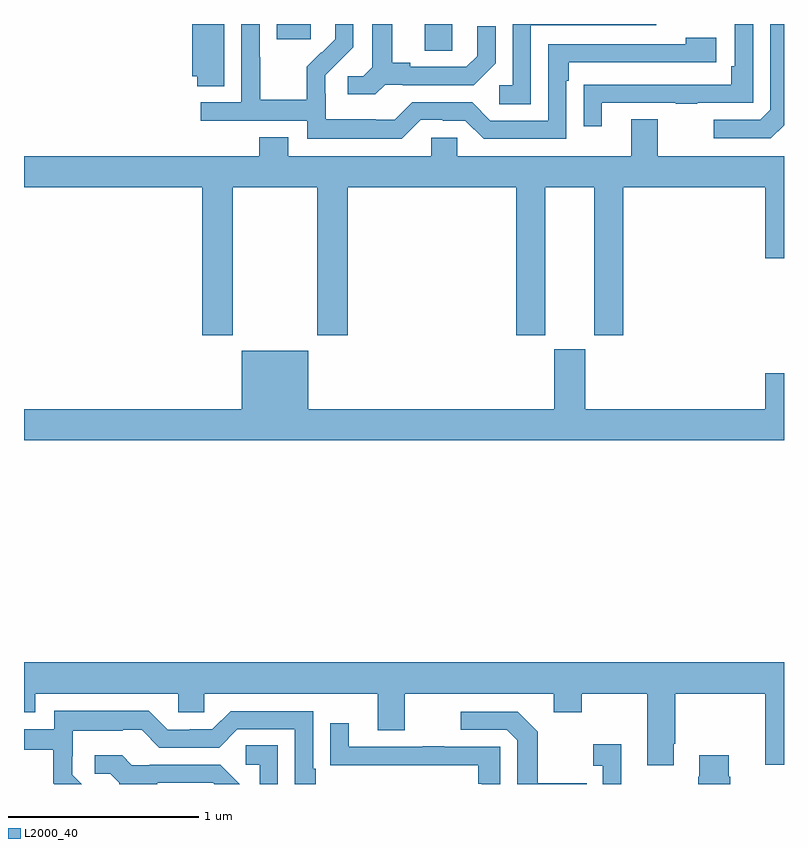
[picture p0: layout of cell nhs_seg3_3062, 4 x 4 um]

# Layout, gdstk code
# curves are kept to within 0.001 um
import gdstk
lib = gdstk.Library(unit=1e-6, precision=1e-09)
def R(c, l, rs):  # rectangles x0, y0, x1, y1
    for r in rs: c.add(gdstk.rectangle(r[:2], r[2:], *l))
def P(c, l, *ps):  # polygons
    for p in ps: c.add(gdstk.Polygon(p, *l))
L2000_40 = (2000, 40)

nhs_seg3_3062 = lib.new_cell('nhs_seg3_3062')
R(nhs_seg3_3062, L2000_40, [(271.109,744.259,271.254,744.4), (270.329,744.321,270.508,744.4)])
P(nhs_seg3_3062, L2000_40, [(271.668,744.393),(272.327,744.393),(272.327,744.4),(271.572,744.4),(271.572,744.078),(271.5,744.078),(271.5,743.977),(271.668,743.977)],
  [(270.055,744.4),(269.885,744.4),(269.885,744.126),(269.912,744.126),(269.912,744.073),(270.055,744.073)],
  [(273,743.868),(273,744.4),(272.928,744.4),(272.928,743.949),(272.874,743.895),(272.631,743.895),(272.631,743.799),(272.931,743.799)],
  [(270.9,744.081),(270.994,744.081),(270.994,744.078),(271.366,744.078),(271.482,744.194),(271.482,744.388),(271.385,744.388),(271.385,744.231),(271.328,744.174),(271.033,744.174),(271.033,744.197),(270.937,744.197),(270.937,744.4),(270.833,744.4),(270.833,744.173),(270.786,744.126),(270.705,744.126),(270.705,744.029),(270.848,744.029)],
  [(272.041,743.985),(272.431,743.985),(272.431,743.98),(272.543,743.98),(272.543,743.985),(272.838,743.985),(272.838,744.4),(272.742,744.4),(272.742,744.178),(272.722,744.178),(272.722,744.081),(272.047,744.081),(272.047,744.08),(271.945,744.08),(271.945,743.862),(272.041,743.862)],
  [(271.089,743.895),(271.205,743.895),(271.205,743.892),(271.323,743.892),(271.419,743.796),(271.854,743.796),(271.854,744.101),(271.867,744.101),(271.867,744.198),(272.644,744.198),(272.644,744.328),(272.483,744.328),(272.483,744.294),(271.758,744.294),(271.758,743.892),(271.455,743.892),(271.359,743.988),(271.044,743.988),(270.951,743.895),(270.851,743.895),(270.851,743.899),(270.588,743.899),(270.588,744.033),(270.586,744.033),(270.586,744.13),(270.732,744.278),(270.732,744.4),(270.638,744.4),(270.638,744.32),(270.567,744.249),(270.564,744.252),(270.487,744.175),(270.487,744.001),(270.243,744.001),(270.243,744.224),(270.24,744.224),(270.24,744.4),(270.144,744.4),(270.144,743.988),(269.931,743.988),(269.931,743.892),(270.492,743.892),(270.492,743.795),(270.989,743.795)],
  [(270.099,743.54),(270.544,743.54),(270.544,742.761),(270.704,742.761),(270.704,743.54),(271.592,743.54),(271.592,742.761),(271.744,742.761),(271.744,743.54),(272,743.54),(272,742.761),(272.153,742.761),(272.153,743.54),(272.9,743.54),(272.9,743.166),(273,743.166),(273,743.704),(272.335,743.704),(272.335,743.899),(272.195,743.899),(272.195,743.704),(271.281,743.704),(271.281,743.802),(271.143,743.802),(271.143,743.704),(270.391,743.704),(270.391,743.803),(270.239,743.803),(270.239,743.704),(269,743.704),(269,743.54),(269.939,743.54),(269.939,742.761),(270.099,742.761)],
  [(273,742.561),(272.9,742.561),(272.9,742.372),(271.954,742.372),(271.954,742.689),(271.79,742.689),(271.79,742.372),(270.496,742.372),(270.496,742.681),(270.146,742.681),(270.146,742.372),(269,742.372),(269,742.208),(273,742.208)],
  [(272.419,740.611),(272.427,740.611),(272.427,740.876),(272.9,740.876),(272.9,740.502),(273,740.502),(273,741.04),(269,741.04),(269,740.777),(269.059,740.777),(269.059,740.876),(269.811,740.876),(269.811,740.778),(269.949,740.778),(269.949,740.876),(270.863,740.876),(270.863,740.682),(271.003,740.682),(271.003,740.876),(271.787,740.876),(271.787,740.777),(271.935,740.777),(271.935,740.876),(272.279,740.876),(272.279,740.499),(272.419,740.499)],
  [(269.254,740.45),(269.254,740.547),(269.256,740.547),(269.256,740.681),(269.519,740.681),(269.519,740.685),(269.619,740.685),(269.712,740.592),(270.027,740.592),(270.123,740.688),(270.426,740.688),(270.426,740.4),(270.535,740.4),(270.535,740.479),(270.522,740.479),(270.522,740.784),(270.087,740.784),(269.991,740.688),(269.873,740.688),(269.873,740.685),(269.757,740.685),(269.657,740.785),(269.16,740.785),(269.16,740.688),(269,740.688),(269,740.58),(269.155,740.58),(269.155,740.405),(269.16,740.4),(269.304,740.4)],
  [(271.961,740.403),(271.705,740.403),(271.705,740.675),(271.599,740.781),(271.299,740.781),(271.299,740.685),(271.542,740.685),(271.596,740.631),(271.596,740.4),(271.961,740.4)],
  [(271.506,740.595),(271.211,740.595),(271.211,740.6),(271.099,740.6),(271.099,740.595),(270.709,740.595),(270.709,740.719),(270.613,740.719),(270.613,740.5),(270.715,740.5),(270.715,740.499),(271.39,740.499),(271.39,740.402),(271.41,740.402),(271.41,740.4),(271.506,740.4)],
  [(272.143,740.608),(271.995,740.608),(271.995,740.495),(272.046,740.495),(272.046,740.4),(272.143,740.4)],
  [(270.336,740.603),(270.168,740.603),(270.168,740.502),(270.24,740.502),(270.24,740.4),(270.336,740.4)],
  [(269.701,740.406),(269.996,740.406),(270.002,740.4),(270.136,740.4),(270.034,740.502),(269.662,740.502),(269.662,740.499),(269.568,740.499),(269.516,740.551),(269.373,740.551),(269.373,740.454),(269.454,740.454),(269.501,740.407),(269.501,740.4),(269.701,740.4)],
  [(272.718,740.438),(272.71,740.438),(272.71,740.551),(272.555,740.551),(272.555,740.438),(272.548,740.438),(272.548,740.4),(272.718,740.4)])

lib.write_gds('nhs_seg3_3062.gds')
